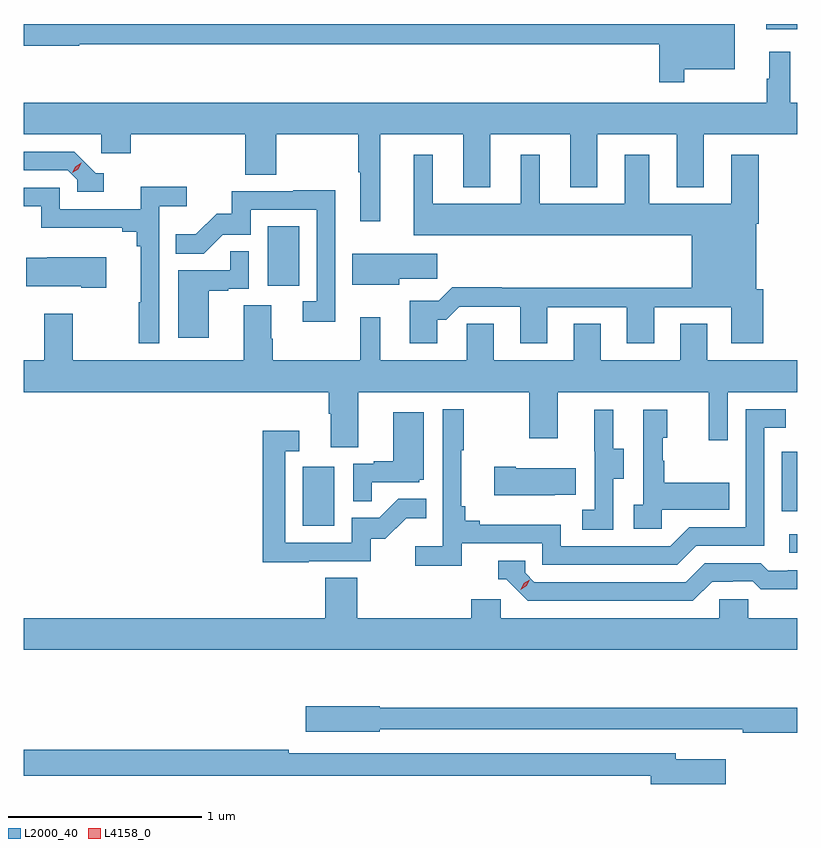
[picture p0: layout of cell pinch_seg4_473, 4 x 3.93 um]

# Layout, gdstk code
import gdstk
lib = gdstk.Library(unit=1e-6, precision=1e-09)
def R(c, l, rs):  # rectangles x0, y0, x1, y1
    for r in rs: c.add(gdstk.rectangle(r[:2], r[2:], *l))
def P(c, l, *ps):  # polygons
    for p in ps: c.add(gdstk.Polygon(p, *l))
L2000_40 = (2000, 40)
L4158_0 = (4158, 0)

pinch_seg4_473 = lib.new_cell('pinch_seg4_473')
R(pinch_seg4_473, L2000_40, [(915.309,757.362,915.352,757.458), (912.794,757.5,912.958,757.807), (915.27,757.575,915.352,757.884), (912.614,758.742,912.778,759.049), (915.191,760.067,915.352,760.095)])
P(pinch_seg4_473, L2000_40, [(914.767,759.86),(915.028,759.86),(915.028,760.095),(911.352,760.095),(911.352,759.982),(911.64,759.982),(911.64,759.99),(914.638,759.99),(914.638,759.795),(914.767,759.795)],
  [(913.195,759.524),(913.625,759.524),(913.625,759.251),(913.765,759.251),(913.765,759.524),(914.177,759.524),(914.177,759.251),(914.317,759.251),(914.317,759.524),(914.729,759.524),(914.729,759.251),(914.869,759.251),(914.869,759.524),(915.352,759.524),(915.352,759.688),(915.316,759.688),(915.316,759.952),(915.206,759.952),(915.206,759.812),(915.195,759.812),(915.195,759.688),(911.352,759.688),(911.352,759.524),(911.754,759.524),(911.754,759.426),(911.906,759.426),(911.906,759.524),(912.497,759.524),(912.497,759.316),(912.657,759.316),(912.657,759.524),(913.081,759.524),(913.081,759.328),(913.091,759.328),(913.091,759.075),(913.195,759.075)],
  [(911.767,759.324),(911.724,759.324),(911.613,759.435),(911.352,759.435),(911.352,759.339),(911.58,759.339),(911.628,759.291),(911.628,759.228),(911.767,759.228)],
  [(913.489,758.567),(913.538,758.567),(913.605,758.634),(913.919,758.634),(913.919,758.445),(914.059,758.445),(914.059,758.631),(914.471,758.631),(914.471,758.445),(914.611,758.445),(914.611,758.631),(915.011,758.631),(915.011,758.445),(915.176,758.445),(915.176,758.724),(915.139,758.724),(915.139,759.062),(915.152,759.062),(915.152,759.418),(915.011,759.418),(915.011,759.166),(914.587,759.166),(914.587,759.418),(914.459,759.418),(914.459,759.166),(914.02,759.166),(914.02,759.418),(913.922,759.418),(913.922,759.166),(913.468,759.166),(913.468,759.418),(913.37,759.418),(913.37,759.002),(914.807,759.002),(914.807,758.732),(913.823,758.732),(913.823,758.735),(913.568,758.735),(913.498,758.665),(913.349,758.665),(913.349,758.445),(913.489,758.445)],
  [(912.054,759.152),(912.196,759.152),(912.196,759.254),(911.957,759.254),(911.957,759.138),(911.538,759.138),(911.538,759.249),(911.352,759.249),(911.352,759.153),(911.442,759.153),(911.442,759.041),(911.861,759.041),(911.861,759.022),(911.938,759.022),(911.938,758.945),(911.957,758.945),(911.957,758.657),(911.946,758.657),(911.946,758.445),(912.054,758.445)],
  [(912.963,759.236),(912.745,759.236),(912.745,759.231),(912.427,759.231),(912.427,759.114),(912.35,759.114),(912.243,759.007),(912.139,759.007),(912.139,758.908),(912.283,758.908),(912.381,759.006),(912.525,759.006),(912.525,759.135),(912.867,759.135),(912.867,758.661),(912.795,758.661),(912.795,758.556),(912.963,758.556)],
  [(912.31,758.715),(912.41,758.715),(912.41,758.727),(912.516,758.727),(912.516,758.921),(912.421,758.921),(912.421,758.823),(912.152,758.823),(912.152,758.472),(912.31,758.472)],
  [(913.294,758.779),(913.489,758.779),(913.489,758.908),(913.05,758.908),(913.05,758.747),(913.294,758.747)],
  [(911.779,758.89),(911.473,758.89),(911.473,758.887),(911.365,758.887),(911.365,758.738),(911.651,758.738),(911.651,758.731),(911.779,758.731)],
  [(912.929,758.08),(912.941,758.08),(912.941,757.906),(913.081,757.906),(913.081,758.192),(913.966,758.192),(913.966,757.953),(914.113,757.953),(914.113,758.192),(914.894,758.192),(914.894,757.944),(914.991,757.944),(914.991,758.192),(915.352,758.192),(915.352,758.356),(914.887,758.356),(914.887,758.546),(914.747,758.546),(914.747,758.356),(914.335,758.356),(914.335,758.546),(914.195,758.546),(914.195,758.356),(913.783,758.356),(913.783,758.546),(913.644,758.546),(913.644,758.356),(913.195,758.356),(913.195,758.578),(913.091,758.578),(913.091,758.356),(912.639,758.356),(912.639,758.468),(912.631,758.468),(912.631,758.642),(912.491,758.642),(912.491,758.356),(911.607,758.356),(911.607,758.596),(911.459,758.596),(911.459,758.356),(911.352,758.356),(911.352,758.192),(912.929,758.192)],
  [(913.616,757.41),(914.034,757.41),(914.034,757.299),(914.731,757.299),(914.83,757.398),(915.18,757.398),(915.18,758.007),(915.293,758.007),(915.293,758.103),(915.084,758.103),(915.084,757.494),(914.793,757.494),(914.694,757.395),(914.13,757.395),(914.13,757.507),(913.711,757.507),(913.711,757.526),(913.634,757.526),(913.634,757.603),(913.615,757.603),(913.615,757.891),(913.627,757.891),(913.627,758.104),(913.518,758.104),(913.518,757.396),(913.377,757.396),(913.377,757.294),(913.616,757.294)],
  [(914.652,757.583),(914.999,757.583),(914.999,757.723),(914.665,757.723),(914.665,757.838),(914.655,757.838),(914.655,757.956),(914.68,757.956),(914.68,758.101),(914.556,758.101),(914.556,757.61),(914.505,757.61),(914.505,757.485),(914.652,757.485)],
  [(914.4,757.744),(914.455,757.744),(914.455,757.899),(914.401,757.899),(914.401,758.101),(914.303,758.101),(914.303,757.887),(914.304,757.887),(914.304,757.583),(914.241,757.583),(914.241,757.48),(914.4,757.48)],
  [(913.151,757.725),(913.398,757.725),(913.398,757.74),(913.42,757.74),(913.42,758.089),(913.262,758.089),(913.262,757.834),(913.163,757.834),(913.163,757.821),(913.056,757.821),(913.056,757.627),(913.151,757.627)],
  [(912.827,757.317),(913.146,757.317),(913.146,757.434),(913.222,757.434),(913.329,757.541),(913.433,757.541),(913.433,757.64),(913.289,757.64),(913.191,757.542),(913.047,757.542),(913.047,757.413),(912.705,757.413),(912.705,757.887),(912.778,757.887),(912.778,757.993),(912.589,757.993),(912.589,757.312),(912.827,757.312)],
  [(914.099,757.661),(914.207,757.661),(914.207,757.798),(913.897,757.798),(913.897,757.806),(913.785,757.806),(913.785,757.658),(914.099,757.658)],
  [(914.911,757.212),(915.018,757.212),(915.018,757.215),(915.121,757.215),(915.163,757.173),(915.352,757.173),(915.352,757.272),(915.301,757.272),(915.301,757.269),(915.202,757.269),(915.163,757.308),(914.874,757.308),(914.775,757.209),(913.992,757.209),(913.944,757.257),(913.944,757.32),(913.805,757.32),(913.805,757.224),(913.848,757.224),(913.959,757.113),(914.812,757.113)],
  [(915.352,757.024),(915.099,757.024),(915.099,757.122),(914.949,757.122),(914.949,757.024),(913.818,757.024),(913.818,757.122),(913.667,757.122),(913.667,757.024),(913.076,757.024),(913.076,757.232),(912.911,757.232),(912.911,757.024),(911.352,757.024),(911.352,756.86),(915.352,756.86)],
  [(915.352,756.559),(913.194,756.559),(913.194,756.567),(912.81,756.567),(912.81,756.437),(913.194,756.437),(913.194,756.45),(914.818,756.45),(914.818,756.449),(915.07,756.449),(915.07,756.43),(915.352,756.43)],
  [(914.983,756.295),(914.722,756.295),(914.722,756.324),(912.722,756.324),(912.722,756.344),(911.352,756.344),(911.352,756.208),(914.594,756.208),(914.594,756.166),(914.983,756.166)])
P(pinch_seg4_473, L4158_0, [(913.921,757.17),(913.921,757.171),(913.937,757.203),(913.968,757.223),(913.968,757.223),(913.968,757.223),(913.952,757.19),(913.922,757.17)],
  [(911.604,759.325),(911.604,759.325),(911.619,759.358),(911.65,759.378),(911.65,759.378),(911.65,759.378),(911.635,759.345),(911.604,759.325)])

lib.write_gds('pinch_seg4_473.gds')
